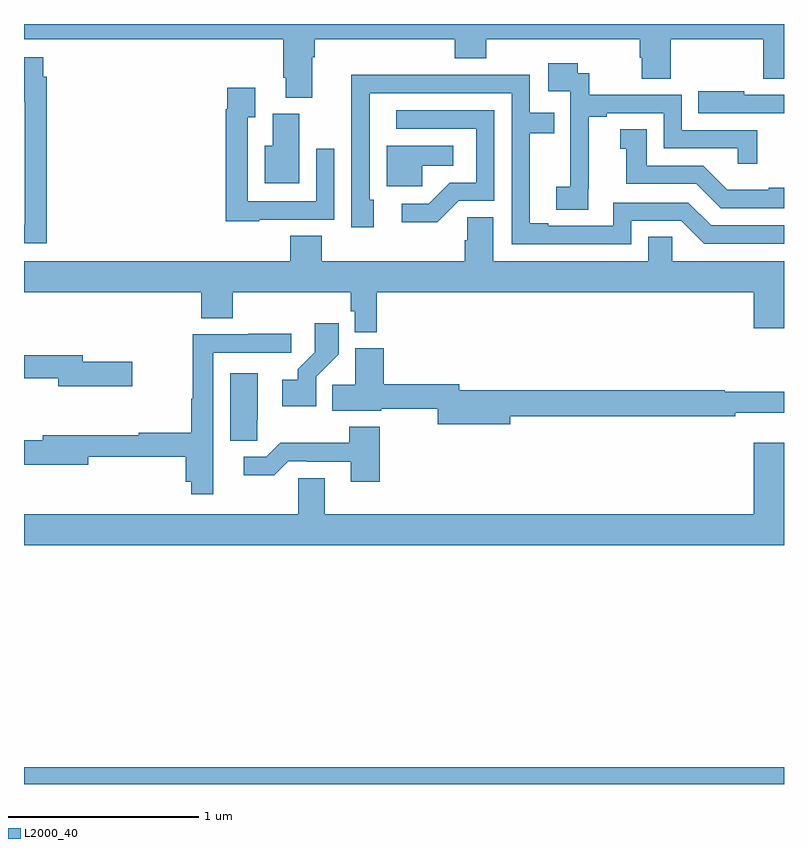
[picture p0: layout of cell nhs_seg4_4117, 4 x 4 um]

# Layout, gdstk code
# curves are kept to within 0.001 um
import gdstk
lib = gdstk.Library(unit=1e-6, precision=1e-09)
def R(c, l, rs):  # rectangles x0, y0, x1, y1
    for r in rs: c.add(gdstk.rectangle(r[:2], r[2:], *l))
def P(c, l, *ps):  # polygons
    for p in ps: c.add(gdstk.Polygon(p, *l))
L2000_40 = (2000, 40)

nhs_seg4_4117 = lib.new_cell('nhs_seg4_4117')
R(nhs_seg4_4117, L2000_40, [(329,792.9,333,792.988)])
P(nhs_seg4_4117, L2000_40, [(330.517,796.724),(330.53,796.724),(330.53,796.82),(331.268,796.82),(331.268,796.721),(331.433,796.721),(331.433,796.82),(332.24,796.82),(332.24,796.722),(332.252,796.722),(332.252,796.612),(332.405,796.612),(332.405,796.82),(332.891,796.82),(332.891,796.612),(333,796.612),(333,796.9),(329,796.9),(329,796.82),(330.365,796.82),(330.365,796.618),(330.377,796.618),(330.377,796.513),(330.517,796.513)],
  [(329.12,796.622),(329.101,796.622),(329.101,796.726),(329,796.726),(329,796.49),(329.004,796.49),(329.004,795.843),(329,795.843),(329,795.747),(329.12,795.747)],
  [(331.97,796.033),(331.972,796.033),(331.972,796.411),(332.068,796.411),(332.068,796.431),(332.367,796.431),(332.367,796.245),(332.757,796.245),(332.757,796.164),(332.858,796.164),(332.858,796.341),(332.463,796.341),(332.463,796.527),(331.976,796.527),(331.976,796.641),(331.914,796.641),(331.914,796.693),(331.758,796.693),(331.758,796.545),(331.875,796.545),(331.875,796.241),(331.874,796.241),(331.874,796.044),(331.8,796.044),(331.8,795.922),(331.97,795.922)],
  [(332.196,795.864),(332.46,795.864),(332.58,795.744),(333,795.744),(333,795.84),(332.616,795.84),(332.496,795.96),(332.1,795.96),(332.1,795.837),(331.759,795.837),(331.759,795.852),(331.663,795.852),(331.663,796.326),(331.79,796.326),(331.79,796.434),(331.662,796.434),(331.662,796.632),(331.184,796.632),(331.184,796.634),(330.722,796.634),(330.723,795.831),(330.841,795.831),(330.841,795.975),(330.819,795.975),(330.819,796.536),(331.566,796.536),(331.566,795.741),(332.196,795.741)],
  [(330.237,795.87),(330.633,795.87),(330.633,796.243),(330.537,796.243),(330.537,795.966),(330.177,795.966),(330.177,796.408),(330.217,796.408),(330.217,796.564),(330.069,796.564),(330.069,796.451),(330.061,796.451),(330.061,795.863),(330.237,795.863)],
  [(333,796.527),(332.791,796.527),(332.791,796.546),(332.548,796.546),(332.548,796.431),(333,796.431)],
  [(331.287,795.969),(331.476,795.969),(331.476,796.446),(330.96,796.446),(330.96,796.35),(331.38,796.35),(331.38,796.065),(331.242,796.065),(331.131,795.954),(330.987,795.954),(330.987,795.857),(331.174,795.857)],
  [(330.448,796.428),(330.308,796.428),(330.308,796.258),(330.266,796.258),(330.266,796.061),(330.448,796.061)],
  [(333,796.039),(332.921,796.039),(332.921,796.027),(332.702,796.027),(332.574,796.155),(332.278,796.155),(332.278,796.346),(332.138,796.346),(332.138,796.243),(332.171,796.243),(332.171,796.059),(332.538,796.059),(332.667,795.93),(333,795.93)],
  [(331.095,796.154),(331.258,796.154),(331.258,796.258),(330.908,796.258),(330.908,796.047),(331.095,796.047)],
  [(332.84,795.3),(333,795.3),(333,795.652),(332.412,795.652),(332.412,795.779),(332.285,795.779),(332.285,795.652),(331.471,795.652),(331.471,795.884),(331.332,795.884),(331.332,795.761),(331.319,795.761),(331.319,795.652),(330.566,795.652),(330.566,795.785),(330.401,795.785),(330.401,795.652),(329,795.652),(329,795.488),(329.933,795.488),(329.933,795.352),(330.098,795.352),(330.098,795.488),(330.721,795.488),(330.721,795.387),(330.741,795.387),(330.741,795.278),(330.857,795.278),(330.857,795.488),(332.84,795.488)],
  [(330.537,795.043),(330.656,795.162),(330.656,795.325),(330.531,795.325),(330.531,795.173),(330.44,795.083),(330.44,795.028),(330.36,795.028),(330.36,794.888),(330.537,794.888)],
  [(329.997,795.171),(330.406,795.171),(330.406,795.27),(330.181,795.27),(330.181,795.267),(329.889,795.267),(329.889,794.927),(329.881,794.927),(329.881,794.75),(329.604,794.75),(329.604,794.735),(329.099,794.735),(329.099,794.709),(329,794.709),(329,794.579),(329.338,794.579),(329.338,794.622),(329.852,794.622),(329.852,794.492),(329.881,794.492),(329.881,794.424),(329.997,794.424)],
  [(331.558,794.836),(332.744,794.836),(332.744,794.855),(333,794.855),(333,794.965),(332.687,794.965),(332.687,794.972),(331.291,794.972),(331.291,795.004),(330.893,795.004),(330.893,795.193),(330.743,795.193),(330.743,795.002),(330.622,795.002),(330.622,794.864),(330.88,794.864),(330.88,794.875),(331.178,794.875),(331.178,794.794),(331.558,794.794)],
  [(329.569,795.123),(329.308,795.123),(329.308,795.157),(329,795.157),(329,795.036),(329.18,795.036),(329.18,794.993),(329.569,794.993)],
  [(330.228,794.818),(330.229,794.818),(330.229,795.061),(330.086,795.061),(330.086,794.707),(330.228,794.707)],
  [(330.872,794.779),(330.712,794.779),(330.712,794.695),(330.349,794.695),(330.276,794.622),(330.156,794.622),(330.156,794.525),(330.317,794.525),(330.39,794.598),(330.49,794.598),(330.49,794.595),(330.719,794.595),(330.719,794.49),(330.872,794.49)],
  [(333,794.695),(332.84,794.695),(332.84,794.32),(330.583,794.32),(330.583,794.51),(330.444,794.51),(330.444,794.32),(329,794.32),(329,794.156),(333,794.156)])

lib.write_gds('nhs_seg4_4117.gds')
